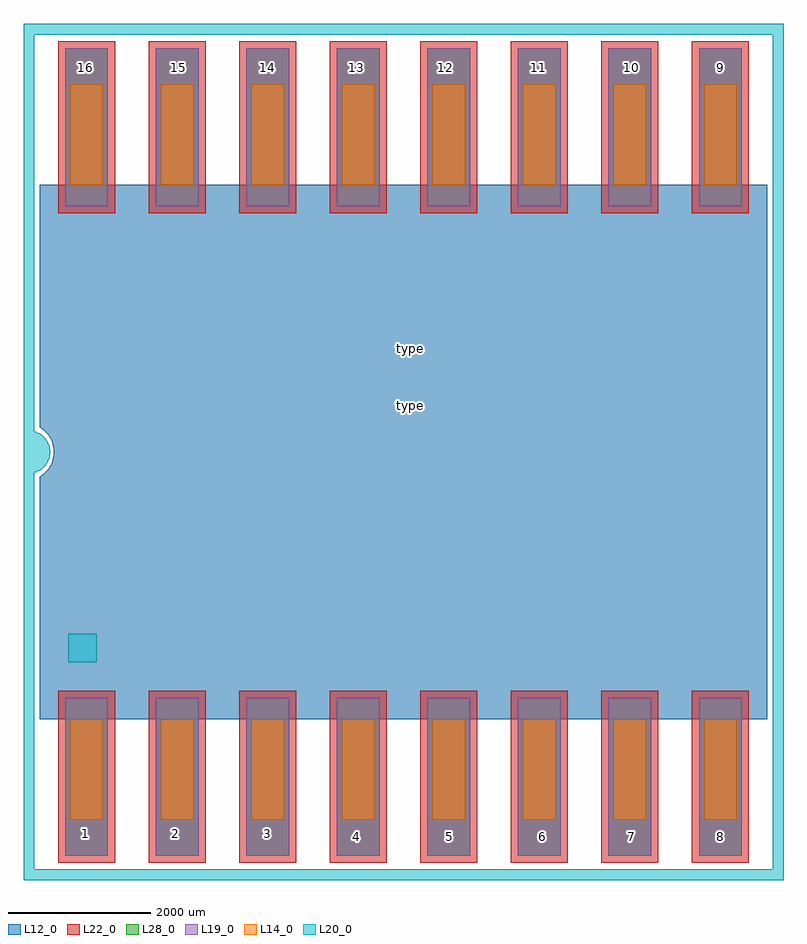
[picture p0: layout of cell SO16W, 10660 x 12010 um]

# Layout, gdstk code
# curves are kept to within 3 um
import gdstk
lib = gdstk.Library(unit=1e-6, precision=1e-09)
def R(c, l, rs):  # rectangles x0, y0, x1, y1
    for r in rs: c.add(gdstk.rectangle(r[:2], r[2:], *l))
def A(c, l, x, y, w, h, nx, ny, dx, dy):  # array of equal rectangles
    R(c, l, [(x+i*dx, y+j*dy, x+i*dx+w, y+j*dy+h) for i in range(nx) for j in range(ny)])
def P(c, l, *ps):  # polygons
    for p in ps: c.add(gdstk.Polygon(p, *l))
L12_0 = (12, 0)
L14_0 = (14, 0)
L19_0 = (19, 0)
L20_0 = (20, 0)
L22_0 = (22, 0)
L28_0 = (28, 0)

so16w = lib.new_cell('SO16W')
P(so16w, L12_0, [(10210.005,7500.005),(0,7500.005),(0,4096.413),(29.431,4077.664),(82.843,4032.846),(127.661,3979.434),(146.41,3950.003),(175.877,3886.811),(186.37,3853.531),(198.478,3784.865),(200,3750.003),(198.478,3715.141),(186.37,3646.475),(175.877,3613.195),(146.41,3550.003),(127.661,3520.572),(82.843,3467.16),(29.431,3422.342),(0,3403.593),(0,0),(10210.005,0)])
A(so16w, L14_0, 430, -1410, 460, 1410, 8, 2, 1270, 8910)
A(so16w, L19_0, 360, -1910, 600, 2210, 8, 2, 1270, 9110)
R(so16w, L20_0, [(400,800,800,1200)])
P(so16w, L20_0, [(-150,4050),(-150,3450),(-97.906,3454.558),(-47.394,3468.092),(22.073,3504.254),(62.132,3537.868),(95.746,3577.927),(131.908,3647.394),(145.442,3697.906),(150,3750),(145.442,3802.094),(131.908,3852.606),(95.746,3922.073),(62.132,3962.132),(22.073,3995.746),(-47.394,4031.908),(-97.906,4045.442)])
A(so16w, L22_0, 260, -2010, 800, 2410, 8, 2, 1270, 9110)
A(so16w, L28_0, 360, -1910, 600, 2210, 8, 2, 1270, 9110)
so16w.add(gdstk.FlexPath([(-150,9605),(-150,-2180),(10360,-2180),(10360,9680),(-225,9680)], 150, ends="flush", simple_path=True, layer=20, datatype=0))  # L20_0
so16w.add(gdstk.Label('devicename', (-700,4200), layer=20, texttype=0))
so16w.add(gdstk.Label('type', (5200,5200), layer=20, texttype=0))
so16w.add(gdstk.Label('type', (5200,4400), layer=10, texttype=0))
so16w.add(gdstk.Label('1', (650,-1600), layer=28, texttype=0))
so16w.add(gdstk.Label('2', (1900,-1600), layer=28, texttype=0))
so16w.add(gdstk.Label('3', (3200,-1600), layer=28, texttype=0))
so16w.add(gdstk.Label('4', (4450,-1650), layer=28, texttype=0))
so16w.add(gdstk.Label('5', (5750,-1650), layer=28, texttype=0))
so16w.add(gdstk.Label('6', (7050,-1650), layer=28, texttype=0))
so16w.add(gdstk.Label('7', (8300,-1650), layer=28, texttype=0))
so16w.add(gdstk.Label('8', (9550,-1650), layer=28, texttype=0))
so16w.add(gdstk.Label('9', (9550,9150), layer=28, texttype=0))
so16w.add(gdstk.Label('10', (8300,9150), layer=28, texttype=0))
so16w.add(gdstk.Label('11', (7000,9150), layer=28, texttype=0))
so16w.add(gdstk.Label('12', (5700,9150), layer=28, texttype=0))
so16w.add(gdstk.Label('13', (4450,9150), layer=28, texttype=0))
so16w.add(gdstk.Label('14', (3200,9150), layer=28, texttype=0))
so16w.add(gdstk.Label('15', (1950,9150), layer=28, texttype=0))
so16w.add(gdstk.Label('16', (650,9150), layer=28, texttype=0))

lib.write_gds('SO16W.gds')
